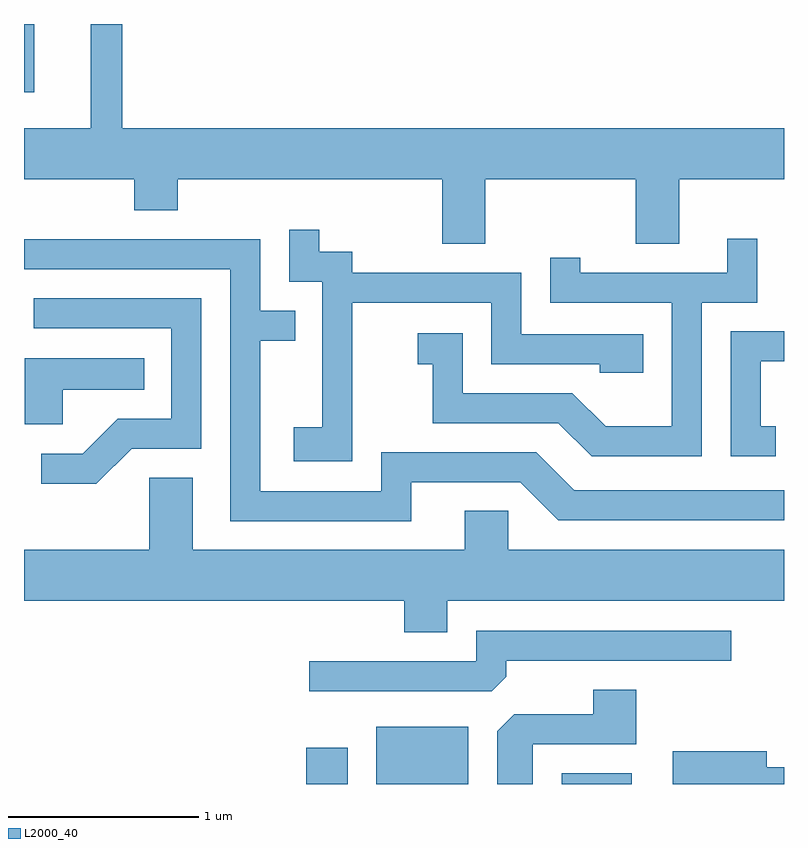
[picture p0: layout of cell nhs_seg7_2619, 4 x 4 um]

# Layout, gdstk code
import gdstk
lib = gdstk.Library(unit=1e-6, precision=1e-09)
def R(c, l, rs):  # rectangles x0, y0, x1, y1
    for r in rs: c.add(gdstk.rectangle(r[:2], r[2:], *l))
def P(c, l, *ps):  # polygons
    for p in ps: c.add(gdstk.Polygon(p, *l))
L2000_40 = (2000, 40)

nhs_seg7_2619 = lib.new_cell('nhs_seg7_2619')
R(nhs_seg7_2619, L2000_40, [(267.096,1702.252,267.314,1702.444), (267.466,1702.252,267.949,1702.554), (268.441,1702.252,268.809,1702.309), (265.611,1705.893,265.664,1706.252)])
P(nhs_seg7_2619, L2000_40, [(266.129,1706.252),(265.961,1706.252),(265.961,1705.704),(265.611,1705.704),(265.611,1705.436),(266.191,1705.436),(266.191,1705.271),(266.419,1705.271),(266.419,1705.436),(267.811,1705.436),(267.811,1705.096),(268.039,1705.096),(268.039,1705.436),(268.831,1705.436),(268.831,1705.096),(269.059,1705.096),(269.059,1705.436),(269.611,1705.436),(269.611,1705.704),(266.129,1705.704)],
  [(267.339,1704.786),(268.071,1704.786),(268.071,1704.461),(268.641,1704.461),(268.641,1704.416),(268.869,1704.416),(268.869,1704.619),(268.229,1704.619),(268.229,1704.944),(267.339,1704.944),(267.339,1705.054),(267.164,1705.054),(267.164,1705.168),(267.006,1705.168),(267.006,1704.896),(267.181,1704.896),(267.181,1704.129),(267.031,1704.129),(267.031,1703.951),(267.339,1703.951)],
  [(269.179,1704.786),(269.469,1704.786),(269.469,1705.123),(269.311,1705.123),(269.311,1704.944),(268.539,1704.944),(268.539,1705.023),(268.381,1705.023),(268.381,1704.786),(269.021,1704.786),(269.021,1704.134),(268.672,1704.134),(268.497,1704.309),(267.919,1704.309),(267.919,1704.624),(267.683,1704.624),(267.683,1704.461),(267.761,1704.461),(267.761,1704.151),(268.424,1704.151),(268.599,1703.976),(269.179,1703.976)],
  [(267.649,1703.841),(268.224,1703.841),(268.424,1703.641),(269.611,1703.641),(269.611,1703.799),(268.507,1703.799),(268.307,1703.999),(267.491,1703.999),(267.491,1703.794),(266.854,1703.794),(266.854,1704.586),(267.038,1704.586),(267.038,1704.744),(266.854,1704.744),(266.854,1705.119),(265.611,1705.119),(265.611,1704.961),(266.696,1704.961),(266.696,1703.636),(267.649,1703.636)],
  [(266.177,1704.016),(266.544,1704.016),(266.544,1704.809),(265.663,1704.809),(265.663,1704.651),(266.386,1704.651),(266.386,1704.174),(266.104,1704.174),(265.919,1703.989),(265.703,1703.989),(265.703,1703.831),(265.992,1703.831)],
  [(269.568,1704.134),(269.489,1704.134),(269.489,1704.476),(269.611,1704.476),(269.611,1704.634),(269.331,1704.634),(269.331,1703.976),(269.568,1703.976)],
  [(265.814,1704.326),(266.243,1704.326),(266.243,1704.494),(265.616,1704.494),(265.616,1704.146),(265.814,1704.146)],
  [(267.839,1703.216),(269.611,1703.216),(269.611,1703.484),(268.159,1703.484),(268.159,1703.689),(267.931,1703.689),(267.931,1703.484),(266.499,1703.484),(266.499,1703.864),(266.271,1703.864),(266.271,1703.484),(265.611,1703.484),(265.611,1703.216),(267.611,1703.216),(267.611,1703.051),(267.839,1703.051)],
  [(268.149,1702.817),(268.149,1702.901),(269.333,1702.901),(269.333,1703.059),(267.991,1703.059),(267.991,1702.899),(267.113,1702.899),(267.113,1702.741),(268.074,1702.741)],
  [(268.289,1702.461),(268.834,1702.461),(268.834,1702.749),(268.606,1702.749),(268.606,1702.619),(268.192,1702.619),(268.101,1702.529),(268.101,1702.252),(268.289,1702.252)],
  [(269.611,1702.339),(269.519,1702.339),(269.519,1702.424),(269.026,1702.424),(269.026,1702.252),(269.611,1702.252)])

lib.write_gds('nhs_seg7_2619.gds')
